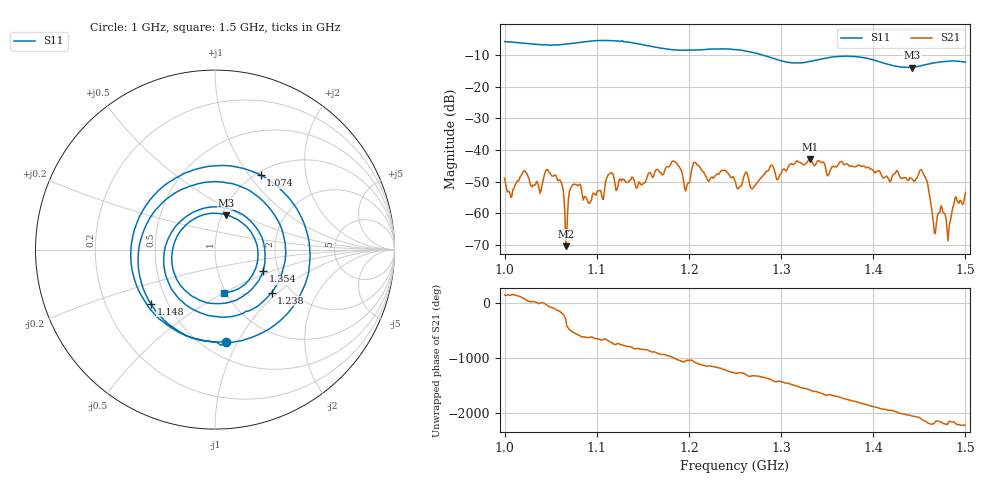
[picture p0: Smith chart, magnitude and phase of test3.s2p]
# HZ S RI R 50
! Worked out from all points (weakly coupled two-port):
!   505 points, 1 GHz to 1.5 GHz, reference 50 ohm
!   highest |S21| = -42.76 dB at 1.331 GHz (marker M1); lowest = -70.3 dB at 1.066 GHz (marker M2)
!   lowest |S11| = -13.9 dB at 1.442 GHz (marker M3), VSWR 1.50, Z = 52.3 + j20.9 ohm
!   |S11| at or under -10 dB: 1.28 GHz to end of sweep
!   S12 and S22 are empty: the file has one direction only
!   S11 on the Smith chart (normalised r, x): 1 GHz: 0.64, -0.90; 1.074 GHz: 1.05, +1.14; 1.148 GHz: 0.40, -0.31; 1.238 GHz: 1.60, -0.91; 1.354 GHz: 1.66, -0.44; 1.5 GHz: 0.98, -0.50
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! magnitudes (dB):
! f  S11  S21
! 1 GHz  -5.7  -48.9
! 1.048 GHz  -6.8  -46.7
! 1.062 GHz  -6.7  -50.3
! 1.066 GHz  -6.5  -70.3
! 1.074 GHz  -6.3  -50.8
! 1.083 GHz  -6.0  -52.3
! 1.148 GHz  -6.6  -50.9
! 1.167 GHz  -7.7  -46.3
! 1.185 GHz  -8.4  -43.6
! 1.197 GHz  -8.4  -51.7
! 1.206 GHz  -8.4  -43.9
! 1.238 GHz  -8.0  -46.3
! 1.25 GHz  -8.2  -49.7
! 1.331 GHz  -12.0  -42.8
! 1.333 GHz  -11.9  -43.6
! 1.354 GHz  -10.7  -45.9
! 1.417 GHz  -13.0  -49.0
! 1.442 GHz  -13.9  -49.2
! 1.455 GHz  -13.1  -48.1
! 1.467 GHz  -12.4  -66.4
! 1.482 GHz  -11.9  -64.7
! 1.5 GHz  -12.2  -53.3
